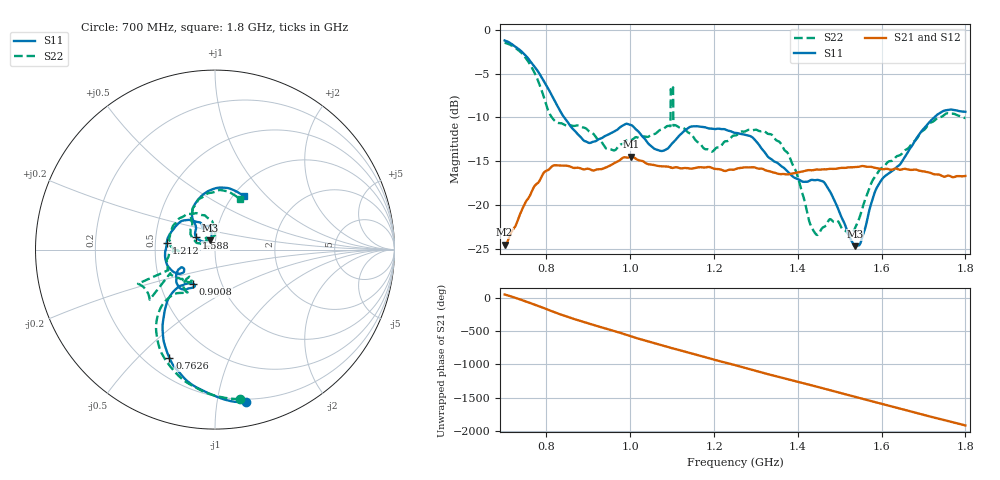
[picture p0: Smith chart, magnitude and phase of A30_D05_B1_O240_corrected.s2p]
! Created with skrf 1.9.0 (http://scikit-rf.org).
# Hz S RI R 50.0
!freq ReS11 ImS11 ReS21 ImS21 ReS12 ImS12 ReS22 ImS22
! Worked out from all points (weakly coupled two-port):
!   1601 points, 700 MHz to 1.8 GHz, reference 50 ohm
!   highest |S21| = -14.49 dB at 1.002 GHz (marker M1); lowest = -24.6 dB at 700 MHz (marker M2)
!   lowest |S11| = -24.7 dB at 1.537 GHz (marker M3), VSWR 1.12, Z = 47.2 + j4.94 ohm
!   |S11| at or under -10 dB: 841.9 MHz to 1.726 GHz (883.7 MHz wide, 68.8 % of centre)
!   |S22| runs from -23.5 to -1.5 dB; largest |S21 - S12| = 0.0034
!   S11 on the Smith chart (normalised r, x): 700 MHz: 0.17, -1.21; 762.6 MHz: 0.29, -0.62; 900.8 MHz: 0.73, -0.30; 1.212 GHz: 0.57, +0.05; 1.588 GHz: 0.80, +0.11; 1.8 GHz: 1.12, +0.76
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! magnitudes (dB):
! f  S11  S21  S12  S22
! 700 MHz  -1.2  -24.6  -24.3  -1.5
! 762.6 MHz  -3.7  -18.7  -18.7  -4.1
! 816.2 MHz  -7.8  -15.5  -15.6  -10.2
! 883.6 MHz  -12.4  -15.9  -15.8  -11.1
! 900.8 MHz  -12.9  -15.9  -15.9  -11.6
! 948.2 MHz  -12.0  -15.6  -15.6  -13.6
! 1.002 GHz  -10.9  -14.5  -14.6  -12.6
! 1.067 GHz  -13.8  -15.6  -15.5  -11.6
! 1.091 GHz  -13.5  -15.6  -15.6  -11.0
! 1.102 GHz  -12.9  -15.8  -15.7  -6.6
! 1.108 GHz  -12.6  -15.7  -15.7  -10.9
! 1.212 GHz  -11.3  -15.9  -15.9  -13.4
! 1.25 GHz  -11.8  -15.9  -15.9  -12.1
! 1.358 GHz  -15.5  -16.5  -16.4  -12.9
! 1.396 GHz  -17.0  -16.3  -16.3  -16.2
! 1.434 GHz  -17.1  -16.0  -16.0  -22.6
! 1.468 GHz  -17.8  -15.9  -15.9  -22.3
! 1.537 GHz  -24.7  -15.7  -15.7  -22.7
! 1.588 GHz  -18.1  -15.8  -15.8  -16.5
! 1.617 GHz  -16.4  -15.9  -15.9  -15.0
! 1.732 GHz  -9.7  -16.5  -16.5  -10.1
! 1.8 GHz  -9.4  -16.7  -16.7  -10.1
